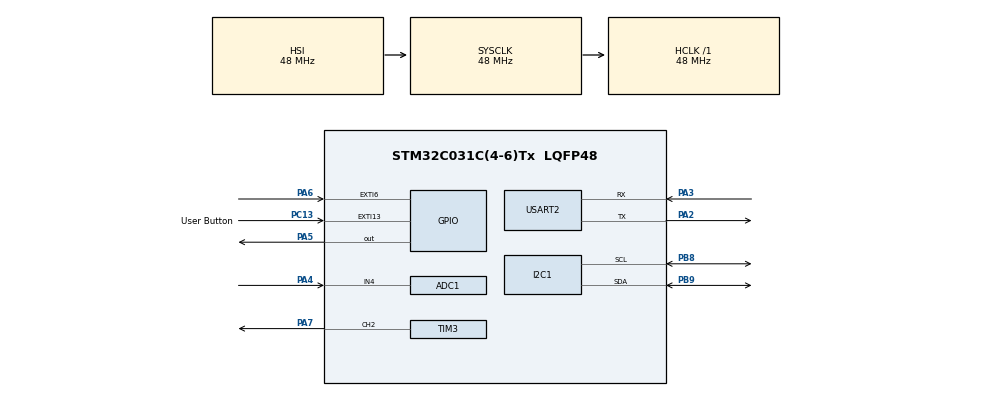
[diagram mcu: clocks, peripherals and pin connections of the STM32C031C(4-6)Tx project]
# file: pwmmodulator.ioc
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ADC1.Channel-0\#ChannelRegularConversion=ADC_CHANNEL_4
ADC1.ContinuousConvMode=DISABLE
ADC1.DMAContinuousRequests=DISABLE
ADC1.NbrOfConversionFlag=1
ADC1.Rank-0\#ChannelRegularConversion=1
ADC1.SamplingTime-0\#ChannelRegularConversion=ADC_SAMPLINGTIME_COMMON_1
ADC1.SamplingTimeCommon1=ADC_SAMPLETIME_79CYCLES_5
ADC1.SelectedChannel=ADC_CHANNEL_4
ADC1.master=1
I2C1.Timing=0x20303E5D
Mcu.Family=STM32C0
Mcu.Name=STM32C031C(4-6)Tx
Mcu.Package=LQFP48
NVIC.ADC1_IRQn=true\:0\:0\:false\:false\:true\:true\:true\:true
NVIC.EXTI4_15_IRQn=true\:0\:0\:true\:false\:true\:true\:true\:true
PA13.Mode=Serial_Wire
PA13.Signal=DEBUG_SWDIO
PA14-BOOT0.Mode=Serial_Wire
PA14-BOOT0.Signal=DEBUG_SWCLK
PA2.Mode=Asynchronous
PA2.Signal=USART2_TX
PA3.Mode=Asynchronous
PA3.Signal=USART2_RX
PA4.Mode=IN4
PA4.Signal=ADC1_IN4
PA5.GPIO_PuPd=GPIO_PULLUP
PA5.Signal=GPIO_Output
PA6.GPIO_ModeDefaultEXTI=GPIO_MODE_IT_RISING_FALLING
PA6.GPIO_PuPd=GPIO_PULLUP
PA6.Signal=GPXTI6
PA7.Signal=S_TIM3_CH2
PB8.Mode=I2C
PB8.Signal=I2C1_SCL
PB9.Mode=I2C
PB9.Signal=I2C1_SDA
PC13.GPIO_Label=User Button
PC13.Signal=GPXTI13
PC14-OSCX_IN\ (PC14).Mode=LSE-External-Oscillator
PC14-OSCX_IN\ (PC14).Signal=RCC_OSCX_IN
PC15-OSCX_OUT\ (PC15).Mode=LSE-External-Oscillator
PC15-OSCX_OUT\ (PC15).Signal=RCC_OSCX_OUT
PF0-OSC_IN\ (PF0).Mode=HSE-External-Oscillator
PF0-OSC_IN\ (PF0).Signal=RCC_OSC_IN
PF1-OSC_OUT\ (PF1).Mode=HSE-External-Oscillator
PF1-OSC_OUT\ (PF1).Signal=RCC_OSC_OUT
ProjectManager.HeapSize=0x200
ProjectManager.StackSize=0x400
ProjectManager.TargetToolchain=Makefile
RCC.ADCFreq_Value=48000000
RCC.AHBFreq_Value=48000000
RCC.CortexFreq_Value=48000000
RCC.EXTERNAL_CLOCK_VALUE=12288000
RCC.HCLKFreq_Value=48000000
RCC.HSE_VALUE=48000000
RCC.HSISYSCLKDivider=RCC_HSI_DIV1
RCC.HSI_VALUE=48000000
RCC.SYSCLKFreq_VALUE=48000000
SH.S_TIM3_CH2.0=TIM3_CH2,PWM Generation2 CH2
TIM3.Channel-PWM\ Generation2\ CH2=TIM_CHANNEL_2
TIM3.Period=999
TIM3.Prescaler=47
USART2.VirtualMode-Asynchronous=VM_ASYNC
board=NUCLEO-C031C6

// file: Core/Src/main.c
/* USER CODE BEGIN Header */
/**
  ******************************************************************************
  * @file           : main.c
  * @brief          : Main program body
  ******************************************************************************
  * @attention
  *
  * Copyright (c) 2023 STMicroelectronics.
  * All rights reserved.
  *
  * This software is licensed under terms that can be found in the LICENSE file
  * in the root directory of this software component.
  * If no LICENSE file comes with this software, it is provided AS-IS.
  *
  ******************************************************************************
  */
/* USER CODE END Header */
#include "main.h"

/* USER CODE BEGIN Includes */

#include <string.h>
#include <stdio.h>
#include "fsm.h"

/* USER CODE END Includes */

ADC_HandleTypeDef hadc1;

I2C_HandleTypeDef hi2c1;

TIM_HandleTypeDef htim3;

UART_HandleTypeDef huart2;

void SystemClock_Config(void);
static void MX_GPIO_Init(void);
static void MX_I2C1_Init(void);
static void MX_USART2_UART_Init(void);
static void MX_TIM3_Init(void);
static void MX_ADC1_Init(void);

int main(void)
{

  /* MCU Configuration--------------------------------------------------------*/

  /* Reset of all peripherals, Initializes the Flash interface and the Systick. */
  HAL_Init();

  /* Configure the system clock */
  SystemClock_Config();

  /* Initialize all configured peripherals */
  MX_GPIO_Init();
  MX_I2C1_Init();
  MX_USART2_UART_Init();
  MX_TIM3_Init();
  MX_ADC1_Init();
  /* USER CODE BEGIN 2 */

  char msg_init[] = "Hello, Wokwi!\r\n";
  HAL_UART_Transmit(&huart2, (uint8_t*)msg_init, strlen(msg_init), HAL_MAX_DELAY);
  HAL_TIM_PWM_Start(&htim3, TIM_CHANNEL_2);  // adatta htim3/CHANNEL_2S al timer/canale scelto
  // Inizializza il modulo FSM passando i puntatori alle periferiche
  FSM_Init(&htim3, TIM_CHANNEL_2, &hadc1, &huart2);
  /* USER CODE END 2 */

  /* Infinite loop */
  while (1)
  {

    /* USER CODE BEGIN 3 */
    // L'intero loop è delegato alla FSM, check fsm.c
    FSM_Process();

  }
  /* USER CODE END 3 */
}

void SystemClock_Config(void)
{
  RCC_OscInitTypeDef RCC_OscInitStruct = {0};
  RCC_ClkInitTypeDef RCC_ClkInitStruct = {0};

  /** Initializes the RCC Oscillators according to the specified parameters
  * in the RCC_OscInitTypeDef structure.
  */
  RCC_OscInitStruct.OscillatorType = RCC_OSCILLATORTYPE_HSI;
  RCC_OscInitStruct.HSIState = RCC_HSI_ON;
  RCC_OscInitStruct.HSIDiv = RCC_HSI_DIV1;
  RCC_OscInitStruct.HSICalibrationValue = RCC_HSICALIBRATION_DEFAULT;
  if (HAL_RCC_OscConfig(&RCC_OscInitStruct) != HAL_OK)
  {
    Error_Handler();
  }

  /** Initializes the CPU, AHB and APB buses clocks
  */
  RCC_ClkInitStruct.ClockType = RCC_CLOCKTYPE_HCLK|RCC_CLOCKTYPE_SYSCLK
                              |RCC_CLOCKTYPE_PCLK1;
  RCC_ClkInitStruct.SYSCLKSource = RCC_SYSCLKSOURCE_HSI;
  RCC_ClkInitStruct.SYSCLKDivider = RCC_SYSCLK_DIV1;
  RCC_ClkInitStruct.AHBCLKDivider = RCC_HCLK_DIV1;
  RCC_ClkInitStruct.APB1CLKDivider = RCC_APB1_DIV1;

  if (HAL_RCC_ClockConfig(&RCC_ClkInitStruct, FLASH_LATENCY_1) != HAL_OK)
  {
    Error_Handler();
  }
}

static void MX_ADC1_Init(void)
{

  ADC_ChannelConfTypeDef sConfig = {0};

  /** Configure the global features of the ADC (Clock, Resolution, Data Alignment and number of conversion)
  */
  hadc1.Instance = ADC1;
  hadc1.Init.ClockPrescaler = ADC_CLOCK_SYNC_PCLK_DIV2;
  hadc1.Init.Resolution = ADC_RESOLUTION_12B;
  hadc1.Init.DataAlign = ADC_DATAALIGN_RIGHT;
  hadc1.Init.ScanConvMode = ADC_SCAN_DISABLE;
  hadc1.Init.EOCSelection = ADC_EOC_SINGLE_CONV;
  hadc1.Init.LowPowerAutoWait = DISABLE;
  hadc1.Init.LowPowerAutoPowerOff = DISABLE;
  hadc1.Init.ContinuousConvMode = DISABLE;
  hadc1.Init.NbrOfConversion = 1;
  hadc1.Init.DiscontinuousConvMode = DISABLE;
  hadc1.Init.ExternalTrigConv = ADC_SOFTWARE_START;
  hadc1.Init.ExternalTrigConvEdge = ADC_EXTERNALTRIGCONVEDGE_NONE;
  hadc1.Init.DMAContinuousRequests = DISABLE;
  hadc1.Init.Overrun = ADC_OVR_DATA_PRESERVED;
  hadc1.Init.SamplingTimeCommon1 = ADC_SAMPLETIME_79CYCLES_5;
  hadc1.Init.SamplingTimeCommon2 = ADC_SAMPLETIME_1CYCLE_5;
  hadc1.Init.OversamplingMode = DISABLE;
  hadc1.Init.TriggerFrequencyMode = ADC_TRIGGER_FREQ_HIGH;
  if (HAL_ADC_Init(&hadc1) != HAL_OK)
  {
    Error_Handler();
  }

  /** Configure Regular Channel
  */
  sConfig.Channel = ADC_CHANNEL_4;
  sConfig.Rank = ADC_REGULAR_RANK_1;
  sConfig.SamplingTime = ADC_SAMPLINGTIME_COMMON_1;
  if (HAL_ADC_ConfigChannel(&hadc1, &sConfig) != HAL_OK)
  {
    Error_Handler();
  }

}

static void MX_I2C1_Init(void)
{

  hi2c1.Instance = I2C1;
  hi2c1.Init.Timing = 0x20303E5D;
  hi2c1.Init.OwnAddress1 = 0;
  hi2c1.Init.AddressingMode = I2C_ADDRESSINGMODE_7BIT;
  hi2c1.Init.DualAddressMode = I2C_DUALADDRESS_DISABLE;
  hi2c1.Init.OwnAddress2 = 0;
  hi2c1.Init.OwnAddress2Masks = I2C_OA2_NOMASK;
  hi2c1.Init.GeneralCallMode = I2C_GENERALCALL_DISABLE;
  hi2c1.Init.NoStretchMode = I2C_NOSTRETCH_DISABLE;
  if (HAL_I2C_Init(&hi2c1) != HAL_OK)
  {
    Error_Handler();
  }

  /** Configure Analogue filter
  */
  if (HAL_I2CEx_ConfigAnalogFilter(&hi2c1, I2C_ANALOGFILTER_ENABLE) != HAL_OK)
  {
    Error_Handler();
  }

  /** Configure Digital filter
  */
  if (HAL_I2CEx_ConfigDigitalFilter(&hi2c1, 0) != HAL_OK)
  {
    Error_Handler();
  }

}

static void MX_TIM3_Init(void)
{

  TIM_MasterConfigTypeDef sMasterConfig = {0};
  TIM_OC_InitTypeDef sConfigOC = {0};

  htim3.Instance = TIM3;
  htim3.Init.Prescaler = 47;
  htim3.Init.CounterMode = TIM_COUNTERMODE_UP;
  htim3.Init.Period = 999;
  htim3.Init.ClockDivision = TIM_CLOCKDIVISION_DIV1;
  htim3.Init.AutoReloadPreload = TIM_AUTORELOAD_PRELOAD_DISABLE;
  if (HAL_TIM_PWM_Init(&htim3) != HAL_OK)
  {
    Error_Handler();
  }
  sMasterConfig.MasterOutputTrigger = TIM_TRGO_RESET;
  sMasterConfig.MasterSlaveMode = TIM_MASTERSLAVEMODE_DISABLE;
  if (HAL_TIMEx_MasterConfigSynchronization(&htim3, &sMasterConfig) != HAL_OK)
  {
    Error_Handler();
  }
  sConfigOC.OCMode = TIM_OCMODE_PWM1;
  sConfigOC.Pulse = 0;
  sConfigOC.OCPolarity = TIM_OCPOLARITY_HIGH;
  sConfigOC.OCFastMode = TIM_OCFAST_DISABLE;
  if (HAL_TIM_PWM_ConfigChannel(&htim3, &sConfigOC, TIM_CHANNEL_2) != HAL_OK)
  {
    Error_Handler();
  }
  HAL_TIM_MspPostInit(&htim3);

}

static void MX_USART2_UART_Init(void)
{

  huart2.Instance = USART2;
  huart2.Init.BaudRate = 115200;
  huart2.Init.WordLength = UART_WORDLENGTH_8B;
  huart2.Init.StopBits = UART_STOPBITS_1;
  huart2.Init.Parity = UART_PARITY_NONE;
  huart2.Init.Mode = UART_MODE_TX_RX;
  huart2.Init.HwFlowCtl = UART_HWCONTROL_NONE;
  huart2.Init.OverSampling = UART_OVERSAMPLING_16;
  huart2.Init.OneBitSampling = UART_ONE_BIT_SAMPLE_DISABLE;
  huart2.Init.ClockPrescaler = UART_PRESCALER_DIV1;
  huart2.AdvancedInit.AdvFeatureInit = UART_ADVFEATURE_NO_INIT;
  if (HAL_UART_Init(&huart2) != HAL_OK)
  {
    Error_Handler();
  }

}

static void MX_GPIO_Init(void)
{
  GPIO_InitTypeDef GPIO_InitStruct = {0};

  /* GPIO Ports Clock Enable */
  __HAL_RCC_GPIOC_CLK_ENABLE();
  __HAL_RCC_GPIOF_CLK_ENABLE();
  __HAL_RCC_GPIOA_CLK_ENABLE();
  __HAL_RCC_GPIOB_CLK_ENABLE();

  /*Configure GPIO pin Output Level */
  HAL_GPIO_WritePin(GPIOA, GPIO_PIN_5, GPIO_PIN_RESET);

  /*Configure GPIO pin : User_Button_Pin */
  GPIO_InitStruct.Pin = User_Button_Pin;
  GPIO_InitStruct.Mode = GPIO_MODE_IT_RISING;
  GPIO_InitStruct.Pull = GPIO_NOPULL;
  HAL_GPIO_Init(User_Button_GPIO_Port, &GPIO_InitStruct);

  /*Configure GPIO pin : PA5 */
  GPIO_InitStruct.Pin = GPIO_PIN_5;
  GPIO_InitStruct.Mode = GPIO_MODE_OUTPUT_PP;
  GPIO_InitStruct.Pull = GPIO_PULLUP;
  GPIO_InitStruct.Speed = GPIO_SPEED_FREQ_LOW;
  HAL_GPIO_Init(GPIOA, &GPIO_InitStruct);

  /*Configure GPIO pin : PA6 */
  GPIO_InitStruct.Pin = GPIO_PIN_6;
  GPIO_InitStruct.Mode = GPIO_MODE_IT_RISING_FALLING;
  GPIO_InitStruct.Pull = GPIO_PULLUP;
  HAL_GPIO_Init(GPIOA, &GPIO_InitStruct);

  /* EXTI interrupt init*/
  HAL_NVIC_SetPriority(EXTI4_15_IRQn, 0, 0);
  HAL_NVIC_EnableIRQ(EXTI4_15_IRQn);

}

/* USER CODE BEGIN 4 */
/* Callback dell'interrupt del pulsante */
void HAL_GPIO_EXTI_Falling_Callback(uint16_t GPIO_Pin)
{

  static uint32_t last_tick = 0;

  if (GPIO_Pin == GPIO_PIN_6)
  {
    // Debounce a tempo per evitare false attivazioni
    if ((HAL_GetTick() - last_tick) > 200)
    {
      FSM_HandleButtonPress();
      last_tick = HAL_GetTick();
    }
  }
}

void HAL_GPIO_EXTI_Rising_Callback(uint16_t GPIO_Pin)
{

  static uint32_t last_tick = 0;

  if (GPIO_Pin == GPIO_PIN_6)
  {
    if ((HAL_GetTick() - last_tick) > 50)
    {
      last_tick = HAL_GetTick();
    }
  }
}

/* USER CODE END 4 */

void Error_Handler(void)
{
  __disable_irq();
  while (1)
  {
  }
}
